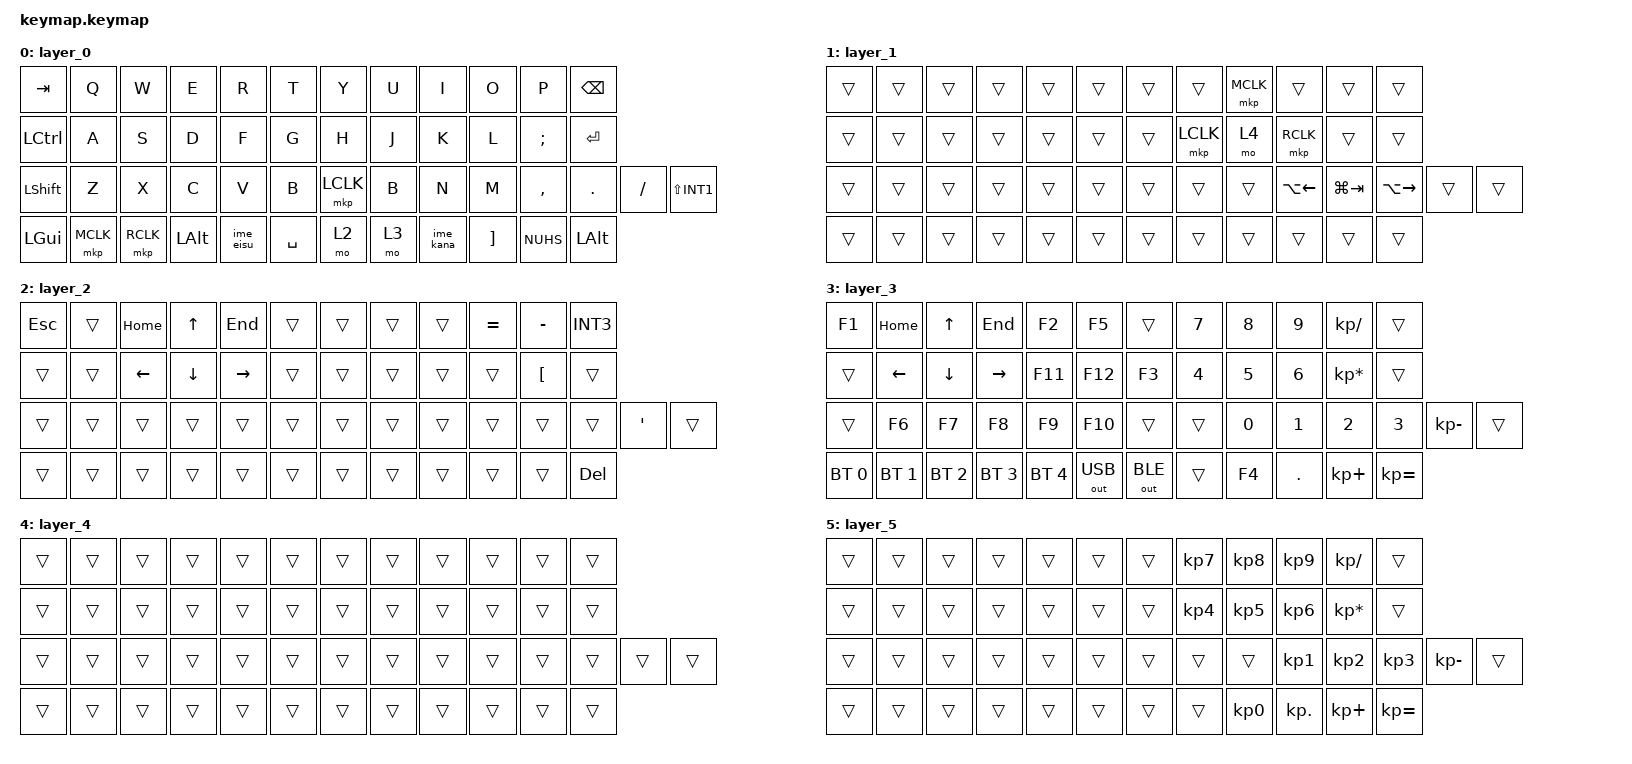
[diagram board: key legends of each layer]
#include <behaviors.dtsi>
#include <dt-bindings/zmk/bt.h>
#include <dt-bindings/zmk/keys.h>
#include <dt-bindings/zmk/outputs.h>
#include <dt-bindings/zmk/pointing.h>

/ {
    macros {
        // IME の切替は Windows と macOS でキーコードが違うので、両方を続けて送る。
        // 知らない方のコードは OS が無視するので、1 つのキーで両 OS に効く。
        //   英数（IME オフ） Windows: 無変換 = INT5 ／ macOS: 英数 = LANG2
        //   かな（IME オン） Windows: 変換   = INT4 ／ macOS: かな = LANG1
        // macOS は INT4 / INT5 を完全に無視するので、&kp INT4 だけだと Mac で かな が効かない。
        // ⚠ Windows 側で 無変換=IME オフ / 変換=IME オン を IME に設定しておくこと
        //   （未設定だと 無変換 が入力モードを巡回させる。詳細はローカルの ledger 5.5）。
        ime_eisu: ime_eisu {
            compatible = "zmk,behavior-macro";
            #binding-cells = <0>;
            wait-ms = <10>;
            tap-ms = <10>;
            bindings = <&kp INT5 &kp LANG2>;
        };

        ime_kana: ime_kana {
            compatible = "zmk,behavior-macro";
            #binding-cells = <0>;
            wait-ms = <10>;
            tap-ms = <10>;
            bindings = <&kp INT4 &kp LANG1>;
        };
    };

    combos {
        compatible = "zmk,combos";

        // レイヤー2 を押さえたまま V + B 同時押し = 現在の BT プロファイルのペアリング解除
        bt_clear {
            bindings = <&bt BT_CLR>;
            key-positions = <28 29>;
            layers = <2>;
        };
    };

    keymap {
        compatible = "zmk,keymap";

        // ベース。
        //   行0 … Y U I O P BackSpace   （右端の上下が BackSpace / Enter）
        //   行1 … H J K L ; Enter
        //   行2 … N M , . / _
        //   行3 … かな [ ] Alt
        // 親指は 左上=左クリック / 左下=レイヤー2 / 右上=B / 右下=レイヤー3。
        // 最下段 左の Esc / L5 だった枠は 中クリック / 右クリック
        // （トラックボールの自動レイヤー1 が不安定だったので、クリックをベースに置いた）。
        // かな は最下段の 1 箇所（&ime_kana = 変換 + LANG1 で Windows / macOS 両対応）。
        // ⚠ 行2 右端を _ にしたので右 Shift は無い。左 Shift のみ。
        // ⚠ レイヤー5（テンキー）への入口はベースから外れている（L5 の枠を右クリックにしたため）。
        layer_0 {
            bindings = <
&kp TAB    &kp Q      &kp W      &kp E     &kp R      &kp T      &kp Y      &kp U  &kp I     &kp O     &kp P      &kp BSPC
&kp LCTRL  &kp A      &kp S      &kp D     &kp F      &kp G      &kp H      &kp J  &kp K     &kp L     &kp SEMI   &kp RET
&kp LSHFT  &kp Z      &kp X      &kp C     &kp V      &kp B      &mkp LCLK  &kp B  &kp N     &kp M     &kp COMMA  &kp DOT   &kp SLASH  &kp LS(INT1)
&kp LGUI   &mkp MCLK  &mkp RCLK  &kp LALT  &ime_eisu  &kp SPACE  &mo 2      &mo 3  &ime_kana  &kp RBKT  &kp NUHS   &kp LALT
            >;
        };

        // マウス。トラックボールを動かすと自動で ON（500ms）。
        layer_1 {
            bindings = <
&trans  &trans  &trans  &trans  &trans  &trans  &trans  &trans     &mkp MCLK  &trans        &trans       &trans
&trans  &trans  &trans  &trans  &trans  &trans  &trans  &mkp LCLK  &mo 4      &mkp RCLK     &trans       &trans
&trans  &trans  &trans  &trans  &trans  &trans  &trans  &trans     &trans     &kp LA(LEFT)  &kp LG(TAB)  &kp LA(RIGHT)  &trans  &trans
&trans  &trans  &trans  &trans  &trans  &trans  &trans  &trans     &trans     &trans        &trans       &trans
            >;
        };

        // 記号・矢印。入口は左親指の下。
        //   左手 … W E R の段に Home ↑ End、ホーム段（S D F）に ← ↓ →。
        //   右手 … 最上段の右端に ^ - ¥。その下に @、さらに下に :。
        //   右端の行1・行2 は透過なので、押さえたまま Enter と BackSpace が使える。
        layer_2 {
            bindings = <
&kp ESCAPE  &trans  &kp HOME        &kp UP_ARROW    &kp END          &trans  &trans  &trans  &trans  &kp EQUAL  &kp MINUS  &kp INT3
&trans      &trans  &kp LEFT_ARROW  &kp DOWN_ARROW  &kp RIGHT_ARROW  &trans  &trans  &trans  &trans  &trans     &kp LBKT   &trans
&trans      &trans  &trans          &trans          &trans           &trans  &trans  &trans  &trans  &trans     &trans     &trans      &kp SQT  &trans
&trans      &trans  &trans          &trans          &trans           &trans  &trans  &trans  &trans  &trans     &trans     &kp DELETE
            >;
        };

        // Fn・数字・Bluetooth。入口は右親指の下。
        // 数字は右手のホームポジション（5 が K、0 が N の位置）。
        // KP_ ではなく普通の 1〜0 なので、左Shift を足すと ! " # $ % & ' ( ) が標準どおり出る。
        // 演算子だけ KP_（JIS でもズレない）。
        // 最下段の左手が BT プロファイル 0〜4 と 出力先 USB / BLE（左手にしかない）。
        layer_3 {
            bindings = <
&kp F1        &kp HOME        &kp UP_ARROW    &kp END          &kp F2        &kp F5        &trans        &kp N7  &kp N8  &kp N9   &kp KP_DIVIDE    &trans
&trans        &kp LEFT_ARROW  &kp DOWN_ARROW  &kp RIGHT_ARROW  &kp F11       &kp F12       &kp F3        &kp N4  &kp N5  &kp N6   &kp KP_MULTIPLY  &trans
&trans        &kp F6          &kp F7          &kp F8           &kp F9        &kp F10       &trans        &trans  &kp N0  &kp N1   &kp N2           &kp N3        &kp KP_MINUS  &trans
&bt BT_SEL 0  &bt BT_SEL 1    &bt BT_SEL 2    &bt BT_SEL 3     &bt BT_SEL 4  &out OUT_USB  &out OUT_BLE  &trans  &kp F4  &kp DOT  &kp KP_PLUS      &kp KP_EQUAL
            >;
        };

        // スクロール。レイヤー1 の K の位置を押している間だけ。
        layer_4 {
            bindings = <
&trans  &trans  &trans  &trans  &trans  &trans  &trans  &trans  &trans  &trans  &trans  &trans
&trans  &trans  &trans  &trans  &trans  &trans  &trans  &trans  &trans  &trans  &trans  &trans
&trans  &trans  &trans  &trans  &trans  &trans  &trans  &trans  &trans  &trans  &trans  &trans  &trans  &trans
&trans  &trans  &trans  &trans  &trans  &trans  &trans  &trans  &trans  &trans  &trans  &trans
            >;
        };

        // テンキー（KP_）。現在ベースに入口が無い。使うなら &mo 5 をどこかに置く。
        layer_5 {
            bindings = <
&trans  &trans  &trans  &trans  &trans  &trans  &trans  &kp KP_NUMBER_7  &kp KP_NUMBER_8  &kp KP_NUMBER_9  &kp KP_DIVIDE    &trans
&trans  &trans  &trans  &trans  &trans  &trans  &trans  &kp KP_NUMBER_4  &kp KP_NUMBER_5  &kp KP_NUMBER_6  &kp KP_MULTIPLY  &trans
&trans  &trans  &trans  &trans  &trans  &trans  &trans  &trans           &trans           &kp KP_NUMBER_1  &kp KP_NUMBER_2  &kp KP_NUMBER_3  &kp KP_MINUS  &trans
&trans  &trans  &trans  &trans  &trans  &trans  &trans  &trans           &kp KP_NUMBER_0  &kp KP_DOT       &kp KP_PLUS      &kp KP_EQUAL
            >;
        };
    };
};
